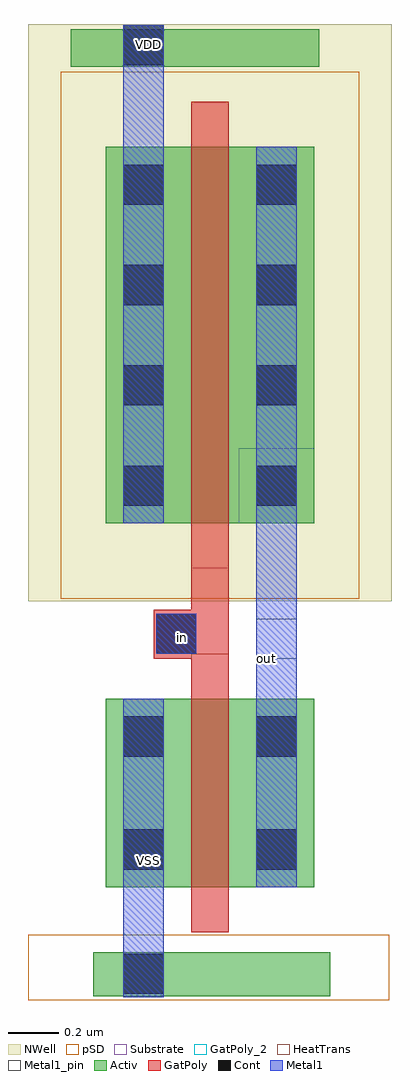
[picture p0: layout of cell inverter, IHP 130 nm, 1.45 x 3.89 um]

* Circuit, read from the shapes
.subckt inverter VDD VSS in out
XM1 out in VSS VSS sg13_lv_nmos w=0.75u l=0.15u
XM2 out in VDD VDD sg13_lv_pmos w=1.5u l=0.15u
.ends

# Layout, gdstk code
import gdstk
lib = gdstk.Library(unit=1e-6, precision=5e-09)
def R(c, l, rs):  # rectangles x0, y0, x1, y1
    for r in rs: c.add(gdstk.rectangle(r[:2], r[2:], *l))
def A(c, l, x, y, w, h, nx, ny, dx, dy):  # array of equal rectangles
    R(c, l, [(x+i*dx, y+j*dy, x+i*dx+w, y+j*dy+h) for i in range(nx) for j in range(ny)])
Activ = (1, 0)
GatPoly = (5, 0)
GatPoly_2 = (5, 2)
Cont = (6, 0)
Metal1 = (8, 0)
Metal1_pin = (8, 2)
pSD = (14, 0)
NWell = (31, 0)
Substrate = (40, 0)
HeatTrans = (51, 0)

nmos = lib.new_cell('nmos')
R(nmos, Activ, [(0,0,0.3,0.3), (0,0,0.83,0.75), (0.53,0,0.83,0.3)])
R(nmos, GatPoly, [(0.34,-0.18,0.49,0.93)])
R(nmos, GatPoly_2, [(0.34,-0.18,0.49,0.93)])
R(nmos, Cont, [(0.07,0.07,0.23,0.23), (0.6,0.07,0.76,0.23), (0.07,0.52,0.23,0.68), (0.6,0.52,0.76,0.68)])
R(nmos, Metal1, [(0.07,0,0.23,0.75), (0.6,0,0.76,0.75)])
R(nmos, Metal1_pin, [(0.07,0,0.23,0.75), (0.6,0,0.76,0.75)])
R(nmos, HeatTrans, [(0.34,-0.18,0.49,0.93)])
nmos.add(gdstk.Label('nmos', (0.415,0.375), layer=63, texttype=0))
nmos.add(gdstk.Label('nmos', (0.415,0.375), layer=51, texttype=0))

pmos_1 = lib.new_cell('pmos$1')
R(pmos_1, Activ, [(0,0,0.3,0.3), (0,0,0.83,1.5), (0.53,0,0.83,0.3)])
R(pmos_1, GatPoly, [(0.34,-0.18,0.49,1.68), (0.34,-0.18,0.49,1.68)])
A(pmos_1, Cont, 0.07, 0.07, 0.16, 0.16, 1, 4, 0, 0.4)
A(pmos_1, Cont, 0.6, 0.07, 0.16, 0.16, 1, 4, 0, 0.4)
R(pmos_1, Metal1, [(0.07,0,0.23,1.5), (0.07,0,0.23,1.5), (0.6,0,0.76,1.5), (0.6,0,0.76,1.5)])
R(pmos_1, pSD, [(-0.18,-0.3,1.01,1.8)])
R(pmos_1, NWell, [(-0.31,-0.31,1.14,1.81)])
R(pmos_1, Substrate, [(0.53,0,0.83,0.3)])
R(pmos_1, HeatTrans, [(0.34,-0.18,0.49,1.68)])
pmos_1.add(gdstk.Label('pmos', (0.415,0.75), layer=63, texttype=0))
pmos_1.add(gdstk.Label('pmos', (0.415,0.75), layer=51, texttype=0))

inverter = lib.new_cell('inverter')
R(inverter, Activ, [(-0.48,-0.875,0.465,-0.7), (-0.57,2.83,0.42,2.98)])
R(inverter, GatPoly, [(-0.09,0.305,0.06,0.83), (-0.24,0.47,0.06,0.665)])
R(inverter, Cont, [(-0.36,-0.865,-0.2,-0.705), (-0.23,0.49,-0.07,0.65), (-0.36,2.835,-0.2,2.995)])
R(inverter, Metal1, [(-0.36,-0.88,-0.2,-0.365), (0.17,0.065,0.33,1.01), (-0.23,0.49,-0.07,0.65), (-0.36,2.465,-0.2,2.995)])
R(inverter, Metal1_pin, [(-0.36,-0.425,-0.2,-0.2), (0.17,0.47,0.33,0.63), (-0.23,0.49,-0.07,0.65), (-0.36,2.835,-0.2,2.995)])
R(inverter, pSD, [(-0.74,-0.89,0.7,-0.63)])
R(inverter, NWell, [(-0.74,2.82,0.71,3)])
inverter.add(gdstk.Reference(nmos, (-0.43,-0.44)))
inverter.add(gdstk.Reference(pmos_1, (-0.43,1.01)))
inverter.add(gdstk.Label('out', (0.21,0.47), layer=8, texttype=2))
inverter.add(gdstk.Label('VSS', (-0.26,-0.335), layer=8, texttype=2))
inverter.add(gdstk.Label('VDD', (-0.26,2.92), layer=8, texttype=2))
inverter.add(gdstk.Label('in', (-0.125,0.555), layer=8, texttype=2))

lib.write_gds('inverter.gds')
